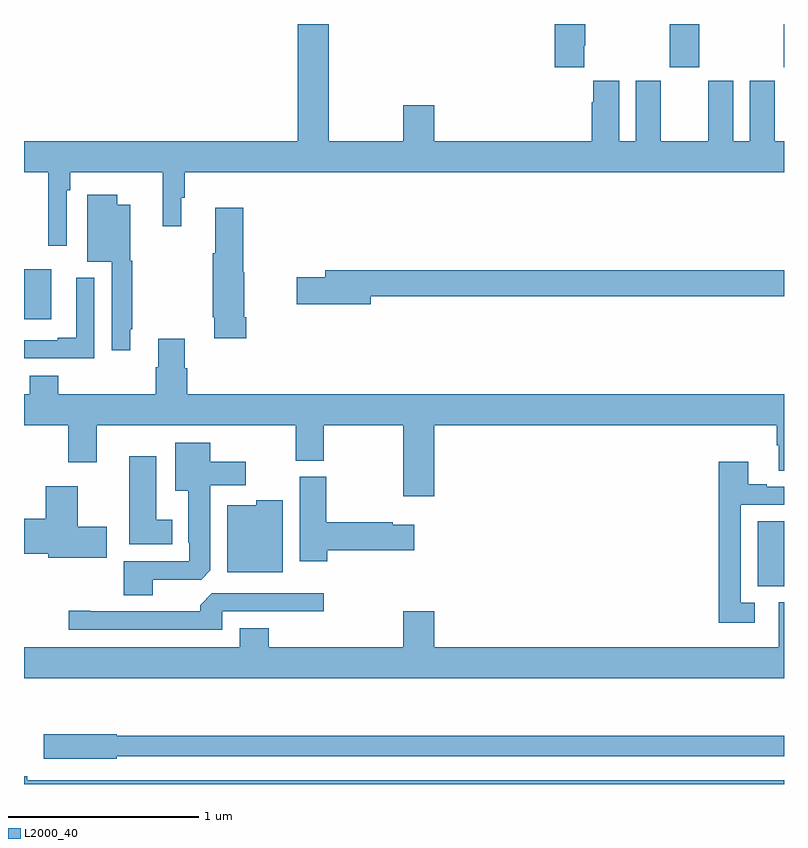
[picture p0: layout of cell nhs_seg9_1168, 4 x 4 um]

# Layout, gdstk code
import gdstk
lib = gdstk.Library(unit=1e-6, precision=1e-09)
def R(c, l, rs):  # rectangles x0, y0, x1, y1
    for r in rs: c.add(gdstk.rectangle(r[:2], r[2:], *l))
def P(c, l, *ps):  # polygons
    for p in ps: c.add(gdstk.Polygon(p, *l))
L2000_40 = (2000, 40)

nhs_seg9_1168 = lib.new_cell('nhs_seg9_1168')
R(nhs_seg9_1168, L2000_40, [(178.862,1227.541,179,1227.884), (175,1228.946,175.144,1229.209), (178.399,1230.273,178.554,1230.5), (178.999,1230.273,179,1230.5)])
P(nhs_seg9_1168, L2000_40, [(177.949,1230.385),(177.954,1230.385),(177.954,1230.5),(177.794,1230.5),(177.794,1230.273),(177.949,1230.273)],
  [(175.224,1229.624),(175.244,1229.624),(175.244,1229.72),(175.729,1229.72),(175.729,1229.436),(175.828,1229.436),(175.828,1229.586),(175.847,1229.586),(175.847,1229.72),(179,1229.72),(179,1229.884),(178.951,1229.884),(178.951,1230.202),(178.82,1230.202),(178.82,1229.884),(178.732,1229.884),(178.732,1230.202),(178.601,1230.202),(178.601,1229.884),(178.351,1229.884),(178.351,1230.202),(178.22,1230.202),(178.22,1229.884),(178.132,1229.884),(178.132,1230.202),(177.995,1230.202),(177.995,1230.089),(177.989,1230.089),(177.989,1229.884),(177.16,1229.884),(177.16,1230.073),(176.996,1230.073),(176.996,1229.884),(176.605,1229.884),(176.605,1230.499),(176.441,1230.499),(176.441,1229.884),(175,1229.884),(175,1229.72),(175.127,1229.72),(175.127,1229.334),(175.224,1229.334)],
  [(175.558,1228.894),(175.57,1228.894),(175.57,1229.253),(175.558,1229.253),(175.558,1229.548),(175.492,1229.548),(175.492,1229.602),(175.334,1229.602),(175.334,1229.249),(175.461,1229.249),(175.461,1228.782),(175.558,1228.782)],
  [(176.171,1228.957),(176.158,1228.957),(176.158,1229.193),(176.153,1229.193),(176.153,1229.533),(176.006,1229.533),(176.006,1229.293),(175.993,1229.293),(175.993,1228.957),(176,1228.957),(176,1228.845),(176.171,1228.845)],
  [(176.824,1229.068),(179,1229.068),(179,1229.204),(176.585,1229.204),(176.585,1229.168),(176.436,1229.168),(176.436,1229.026),(176.824,1229.026)],
  [(175.371,1229.164),(175.274,1229.164),(175.274,1228.849),(175.178,1228.849),(175.178,1228.836),(175,1228.836),(175,1228.74),(175.371,1228.74)],
  [(177.16,1228.388),(178.961,1228.388),(178.961,1228.282),(178.973,1228.282),(178.973,1228.15),(179,1228.15),(179,1228.552),(175.859,1228.552),(175.859,1228.689),(175.846,1228.689),(175.846,1228.843),(175.706,1228.843),(175.706,1228.694),(175.694,1228.694),(175.694,1228.552),(175.181,1228.552),(175.181,1228.65),(175.029,1228.65),(175.029,1228.552),(175,1228.552),(175,1228.388),(175.232,1228.388),(175.232,1228.194),(175.384,1228.194),(175.384,1228.388),(176.429,1228.388),(176.429,1228.201),(176.577,1228.201),(176.577,1228.388),(176.996,1228.388),(176.996,1228.014),(177.16,1228.014)],
  [(175.678,1227.576),(175.932,1227.576),(175.981,1227.625),(175.981,1228.073),(176.167,1228.073),(176.167,1228.195),(175.981,1228.195),(175.981,1228.297),(175.796,1228.297),(175.796,1228.043),(175.865,1228.043),(175.865,1227.769),(175.869,1227.769),(175.869,1227.672),(175.526,1227.672),(175.526,1227.493),(175.678,1227.493)],
  [(175.78,1227.892),(175.696,1227.892),(175.696,1228.225),(175.553,1228.225),(175.553,1227.761),(175.78,1227.761)],
  [(178.846,1227.453),(178.773,1227.453),(178.773,1227.969),(179,1227.969),(179,1228.065),(178.909,1228.065),(178.909,1228.078),(178.813,1228.078),(178.813,1228.195),(178.657,1228.195),(178.657,1227.348),(178.846,1227.348)],
  [(176.597,1227.731),(177.055,1227.731),(177.055,1227.865),(176.942,1227.865),(176.942,1227.878),(176.592,1227.878),(176.592,1228.116),(176.45,1228.116),(176.45,1227.672),(176.597,1227.672)],
  [(175.435,1227.855),(175.282,1227.855),(175.282,1228.066),(175.115,1228.066),(175.115,1227.896),(175,1227.896),(175,1227.713),(175.127,1227.713),(175.127,1227.692),(175.435,1227.692)],
  [(176.362,1227.994),(176.223,1227.994),(176.223,1227.967),(176.069,1227.967),(176.069,1227.614),(176.362,1227.614)],
  [(176.043,1227.408),(176.578,1227.408),(176.578,1227.504),(175.989,1227.504),(175.928,1227.442),(175.928,1227.408),(175.348,1227.408),(175.348,1227.413),(175.236,1227.413),(175.236,1227.312),(176.043,1227.312)],
  [(179,1227.456),(178.973,1227.456),(178.973,1227.22),(177.16,1227.22),(177.16,1227.409),(176.996,1227.409),(176.996,1227.22),(176.288,1227.22),(176.288,1227.319),(176.135,1227.319),(176.135,1227.22),(175,1227.22),(175,1227.056),(179,1227.056)],
  [(175.488,1226.646),(179,1226.646),(179,1226.755),(175.488,1226.755),(175.488,1226.763),(175.104,1226.763),(175.104,1226.633),(175.488,1226.633)],
  [(179,1226.52),(175.016,1226.52),(175.016,1226.54),(175,1226.54),(175,1226.5),(179,1226.5)])

lib.write_gds('nhs_seg9_1168.gds')
